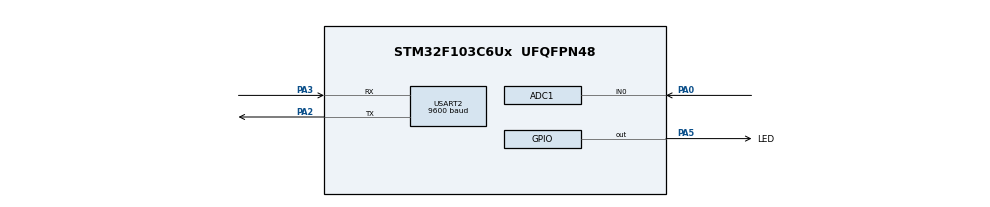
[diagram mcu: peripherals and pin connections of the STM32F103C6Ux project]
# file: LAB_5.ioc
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ADC1.Channel-0\#ChannelRegularConversion=ADC_CHANNEL_0
ADC1.ContinuousConvMode=ENABLE
ADC1.NbrOfConversionFlag=1
ADC1.Rank-0\#ChannelRegularConversion=1
ADC1.SamplingTime-0\#ChannelRegularConversion=ADC_SAMPLETIME_1CYCLE_5
ADC1.master=1
Mcu.Family=STM32F1
Mcu.Name=STM32F103C6Ux
Mcu.Package=UFQFPN48
NVIC.PriorityGroup=NVIC_PRIORITYGROUP_4
NVIC.TIM2_IRQn=true\:0\:0\:false\:false\:true\:true\:true\:true
NVIC.USART2_IRQn=true\:0\:0\:false\:false\:true\:true\:true\:true
PA0-WKUP.Signal=ADCx_IN0
PA2.Mode=Asynchronous
PA2.Signal=USART2_TX
PA3.Mode=Asynchronous
PA3.Signal=USART2_RX
PA5.GPIO_Label=LED
PA5.Signal=GPIO_Output
ProjectManager.HeapSize=0x200
ProjectManager.StackSize=0x400
ProjectManager.TargetToolchain=STM32CubeIDE
RCC.APB1Freq_Value=8000000
RCC.APB2Freq_Value=8000000
SH.ADCx_IN0.0=ADC1_IN0,IN0
TIM2.Period=9
TIM2.Prescaler=7999
USART2.BaudRate=9600
USART2.VirtualMode=VM_ASYNC
VP_TIM2_VS_ClockSourceINT.Mode=Internal
board=custom

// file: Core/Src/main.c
/* USER CODE BEGIN Header */
/**
  ******************************************************************************
  * @file           : main.c
  * @brief          : Main program body
  ******************************************************************************
  * @attention
  *
  * Copyright (c) 2025 STMicroelectronics.
  * All rights reserved.
  *
  * This software is licensed under terms that can be found in the LICENSE file
  * in the root directory of this software component.
  * If no LICENSE file comes with this software, it is provided AS-IS.
  *
  ******************************************************************************
  */
/* USER CODE END Header */
#include "main.h"

/* USER CODE BEGIN Includes */
#include <stdio.h>
#include "timer.h"
#include "command_parser.h"
#include "uart_communication.h"

/* USER CODE END Includes */

ADC_HandleTypeDef hadc1;

TIM_HandleTypeDef htim2;

UART_HandleTypeDef huart2;

void SystemClock_Config(void);
static void MX_GPIO_Init(void);
static void MX_ADC1_Init(void);
static void MX_USART2_UART_Init(void);
static void MX_TIM2_Init(void);

/* USER CODE BEGIN 0 */

// Test program
//uint8_t temp = 0;
//char str[13];
//
//void HAL_UART_RxCpltCallback ( UART_HandleTypeDef * huart ){
//	if(huart -> Instance == USART2 ){
//		HAL_UART_Transmit (& huart2 , &temp , 1, 50) ;
//		HAL_UART_Receive_IT (& huart2 , &temp , 1);
//	}
//}

#define MAX_BUFFER_SIZE 30
uint8_t temp = 0;
uint8_t buffer [MAX_BUFFER_SIZE];
uint8_t index_buffer = 0;
uint8_t buffer_flag = 0;

void HAL_UART_RxCpltCallback (UART_HandleTypeDef * huart) {
	if(huart -> Instance == USART2) {
		buffer[index_buffer++] = temp;
		if(index_buffer == 30) {
			index_buffer = 0;
		}
		buffer_flag = 1;
		HAL_UART_Receive_IT(&huart2, &temp, 1);
	}
}
/* USER CODE END 0 */

int main(void)
{

  /* MCU Configuration--------------------------------------------------------*/

  /* Reset of all peripherals, Initializes the Flash interface and the Systick. */
  HAL_Init();

  /* Configure the system clock */
  SystemClock_Config();

  /* Initialize all configured peripherals */
  MX_GPIO_Init();
  MX_ADC1_Init();
  MX_USART2_UART_Init();
  MX_TIM2_Init();

  /* USER CODE BEGIN 2 */
  HAL_UART_Receive_IT(&huart2, &temp, 1);
  HAL_ADC_Start(&hadc1);
  HAL_TIM_Base_Start_IT(&htim2);

  command_parser_reset();
  setTimer1(300);

  /* USER CODE END 2 */

  /* Infinite loop */
  /* USER CODE BEGIN WHILE */
  while (1)
  {
	  ADC_value = HAL_ADC_GetValue(&hadc1);

	  if(buffer_flag == 1) {
		  command_parser_fsm();
		  buffer_flag = 0;
	  }
	  uart_communication_fsm();

    /* USER CODE END WHILE */

  }
}

void SystemClock_Config(void)
{
  RCC_OscInitTypeDef RCC_OscInitStruct = {0};
  RCC_ClkInitTypeDef RCC_ClkInitStruct = {0};
  RCC_PeriphCLKInitTypeDef PeriphClkInit = {0};

  /** Initializes the RCC Oscillators according to the specified parameters
  * in the RCC_OscInitTypeDef structure.
  */
  RCC_OscInitStruct.OscillatorType = RCC_OSCILLATORTYPE_HSI;
  RCC_OscInitStruct.HSIState = RCC_HSI_ON;
  RCC_OscInitStruct.HSICalibrationValue = RCC_HSICALIBRATION_DEFAULT;
  RCC_OscInitStruct.PLL.PLLState = RCC_PLL_NONE;
  if (HAL_RCC_OscConfig(&RCC_OscInitStruct) != HAL_OK)
  {
    Error_Handler();
  }

  /** Initializes the CPU, AHB and APB buses clocks
  */
  RCC_ClkInitStruct.ClockType = RCC_CLOCKTYPE_HCLK|RCC_CLOCKTYPE_SYSCLK
                              |RCC_CLOCKTYPE_PCLK1|RCC_CLOCKTYPE_PCLK2;
  RCC_ClkInitStruct.SYSCLKSource = RCC_SYSCLKSOURCE_HSI;
  RCC_ClkInitStruct.AHBCLKDivider = RCC_SYSCLK_DIV1;
  RCC_ClkInitStruct.APB1CLKDivider = RCC_HCLK_DIV1;
  RCC_ClkInitStruct.APB2CLKDivider = RCC_HCLK_DIV1;

  if (HAL_RCC_ClockConfig(&RCC_ClkInitStruct, FLASH_LATENCY_0) != HAL_OK)
  {
    Error_Handler();
  }
  PeriphClkInit.PeriphClockSelection = RCC_PERIPHCLK_ADC;
  PeriphClkInit.AdcClockSelection = RCC_ADCPCLK2_DIV2;
  if (HAL_RCCEx_PeriphCLKConfig(&PeriphClkInit) != HAL_OK)
  {
    Error_Handler();
  }
}

static void MX_ADC1_Init(void)
{

  ADC_ChannelConfTypeDef sConfig = {0};

  /** Common config
  */
  hadc1.Instance = ADC1;
  hadc1.Init.ScanConvMode = ADC_SCAN_DISABLE;
  hadc1.Init.ContinuousConvMode = ENABLE;
  hadc1.Init.DiscontinuousConvMode = DISABLE;
  hadc1.Init.ExternalTrigConv = ADC_SOFTWARE_START;
  hadc1.Init.DataAlign = ADC_DATAALIGN_RIGHT;
  hadc1.Init.NbrOfConversion = 1;
  if (HAL_ADC_Init(&hadc1) != HAL_OK)
  {
    Error_Handler();
  }

  /** Configure Regular Channel
  */
  sConfig.Channel = ADC_CHANNEL_0;
  sConfig.Rank = ADC_REGULAR_RANK_1;
  sConfig.SamplingTime = ADC_SAMPLETIME_1CYCLE_5;
  if (HAL_ADC_ConfigChannel(&hadc1, &sConfig) != HAL_OK)
  {
    Error_Handler();
  }

}

static void MX_TIM2_Init(void)
{

  TIM_ClockConfigTypeDef sClockSourceConfig = {0};
  TIM_MasterConfigTypeDef sMasterConfig = {0};

  htim2.Instance = TIM2;
  htim2.Init.Prescaler = 7999;
  htim2.Init.CounterMode = TIM_COUNTERMODE_UP;
  htim2.Init.Period = 9;
  htim2.Init.ClockDivision = TIM_CLOCKDIVISION_DIV1;
  htim2.Init.AutoReloadPreload = TIM_AUTORELOAD_PRELOAD_DISABLE;
  if (HAL_TIM_Base_Init(&htim2) != HAL_OK)
  {
    Error_Handler();
  }
  sClockSourceConfig.ClockSource = TIM_CLOCKSOURCE_INTERNAL;
  if (HAL_TIM_ConfigClockSource(&htim2, &sClockSourceConfig) != HAL_OK)
  {
    Error_Handler();
  }
  sMasterConfig.MasterOutputTrigger = TIM_TRGO_RESET;
  sMasterConfig.MasterSlaveMode = TIM_MASTERSLAVEMODE_DISABLE;
  if (HAL_TIMEx_MasterConfigSynchronization(&htim2, &sMasterConfig) != HAL_OK)
  {
    Error_Handler();
  }

}

static void MX_USART2_UART_Init(void)
{

  huart2.Instance = USART2;
  huart2.Init.BaudRate = 9600;
  huart2.Init.WordLength = UART_WORDLENGTH_8B;
  huart2.Init.StopBits = UART_STOPBITS_1;
  huart2.Init.Parity = UART_PARITY_NONE;
  huart2.Init.Mode = UART_MODE_TX_RX;
  huart2.Init.HwFlowCtl = UART_HWCONTROL_NONE;
  huart2.Init.OverSampling = UART_OVERSAMPLING_16;
  if (HAL_UART_Init(&huart2) != HAL_OK)
  {
    Error_Handler();
  }

}

static void MX_GPIO_Init(void)
{
  GPIO_InitTypeDef GPIO_InitStruct = {0};

  /* GPIO Ports Clock Enable */
  __HAL_RCC_GPIOA_CLK_ENABLE();

  /*Configure GPIO pin Output Level */
  HAL_GPIO_WritePin(LED_GPIO_Port, LED_Pin, GPIO_PIN_RESET);

  /*Configure GPIO pin : LED_Pin */
  GPIO_InitStruct.Pin = LED_Pin;
  GPIO_InitStruct.Mode = GPIO_MODE_OUTPUT_PP;
  GPIO_InitStruct.Pull = GPIO_NOPULL;
  GPIO_InitStruct.Speed = GPIO_SPEED_FREQ_LOW;
  HAL_GPIO_Init(LED_GPIO_Port, &GPIO_InitStruct);

}

/* USER CODE BEGIN 4 */
void HAL_TIM_PeriodElapsedCallback(TIM_HandleTypeDef *htim) {
	timerRun();
}
/* USER CODE END 4 */

void Error_Handler(void)
{
  __disable_irq();
  while (1)
  {
  }
}
